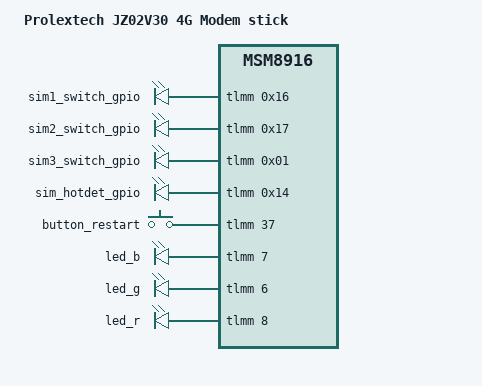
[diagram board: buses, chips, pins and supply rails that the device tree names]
// SPDX-License-Identifier: GPL-2.0-only
/*
 * Copyright (C) 2024 Vasiliy Olekhov <olekhov@gmail.com>
 *
 */

/dts-v1/;
#include "msm8916-ufi.dtsi"

/ {
	model = "Prolextech JZ02V30 4G Modem stick";
	compatible = "prolextech,jz02v30", "qcom,msm8916";

	leds {
		compatible = "gpio-leds";

		pinctrl-0 = <&gpio_leds_default>;
		pinctrl-names = "default";

		sim1_switch_gpio {
			gpios = <&tlmm 0x16 0x00>;
			label = "sim1_switch_gpio";
			linux,default-trigger = "none";
			default-state = "off";
			retain-state-suspended;
		};

		sim2_switch_gpio {
			gpios = <&tlmm 0x17 0x00>;
			label = "sim2_switch_gpio";
			linux,default-trigger = "none";
			default-state = "off";
			retain-state-suspended;
		};

		sim3_switch_gpio {
			gpios = <&tlmm 0x01 0x00>;
			label = "sim3_switch_gpio";
			linux,default-trigger = "none";
			default-state = "on";
			retain-state-suspended;
		};

		sim_hotdet_gpio {
			gpios = <&tlmm 0x14 0x00>;
			label = "sim_hotdet_gpio";
			linux,default-trigger = "none";
			default-state = "off";
			retain-state-suspended;
		};
	};
};

&button_restart {
	gpios = <&tlmm 37 GPIO_ACTIVE_HIGH>;
};

&led_b {
	gpios = <&tlmm 7 GPIO_ACTIVE_HIGH>;
};

&led_g {
	gpios = <&tlmm 6 GPIO_ACTIVE_HIGH>;
};

&led_r {
	gpios = <&tlmm 8 GPIO_ACTIVE_HIGH>;
};

/*
&mpss {
	pinctrl-0 = <&sim_ctrl_default>;
	pinctrl-names = "default";
};
*/

&button_default {
	pins = "gpio37";
	bias-pull-down;
};

&gpio_leds_default {
	pins = "gpio1", "gpio6", "gpio7", "gpio8", "gpio20", "gpio22", "gpio23";
};
